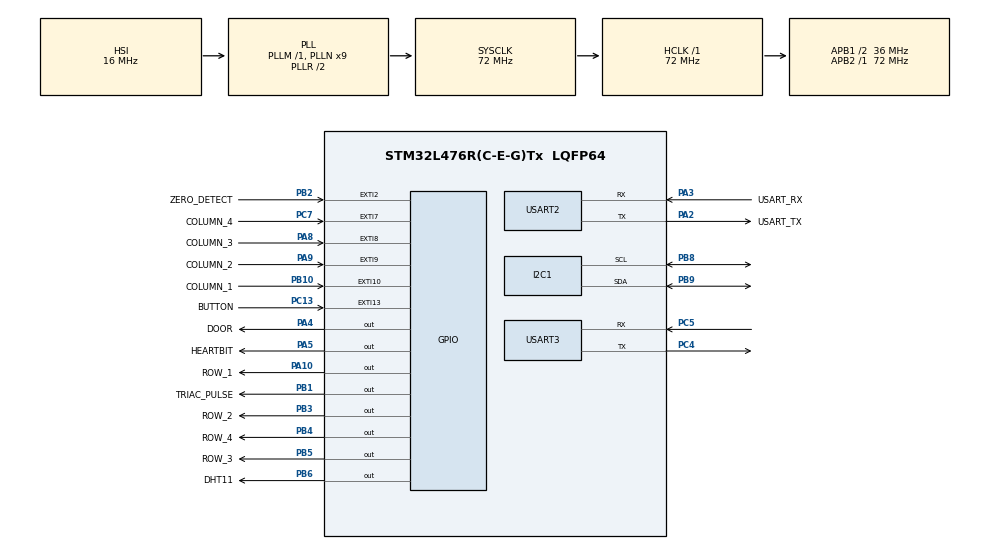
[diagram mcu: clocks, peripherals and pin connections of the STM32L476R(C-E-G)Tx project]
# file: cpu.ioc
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I2C1.Timing=0x00C08CCB
Mcu.Family=STM32L4
Mcu.Name=STM32L476R(C-E-G)Tx
Mcu.Package=LQFP64
NVIC.EXTI15_10_IRQn=true\:0\:0\:false\:false\:true\:true\:true\:true
NVIC.EXTI2_IRQn=true\:0\:0\:false\:false\:true\:true\:true\:true
NVIC.EXTI9_5_IRQn=true\:0\:0\:false\:false\:true\:true\:true\:true
NVIC.I2C1_EV_IRQn=true\:0\:0\:false\:false\:true\:true\:true\:true
NVIC.PriorityGroup=NVIC_PRIORITYGROUP_4
NVIC.RCC_IRQn=true\:0\:0\:false\:false\:true\:true\:false\:true
NVIC.TIM2_IRQn=true\:0\:0\:false\:false\:true\:true\:true\:true
NVIC.USART2_IRQn=true\:0\:0\:false\:false\:true\:true\:true\:true
NVIC.USART3_IRQn=true\:0\:0\:false\:false\:true\:true\:true\:true
PA10.GPIO_Label=ROW_1
PA10.GPIO_ModeDefaultOutputPP=GPIO_MODE_OUTPUT_OD
PA10.GPIO_PuPd=GPIO_NOPULL
PA10.GPIO_Speed=GPIO_SPEED_FREQ_VERY_HIGH
PA10.PinState=GPIO_PIN_RESET
PA10.Signal=GPIO_Output
PA13\ (JTMS-SWDIO).GPIO_Label=TMS
PA13\ (JTMS-SWDIO).Mode=Serial_Wire
PA13\ (JTMS-SWDIO).Signal=SYS_JTMS-SWDIO
PA14\ (JTCK-SWCLK).GPIO_Label=TCK
PA14\ (JTCK-SWCLK).Mode=Serial_Wire
PA14\ (JTCK-SWCLK).Signal=SYS_JTCK-SWCLK
PA2.GPIO_Label=USART_TX
PA2.GPIO_Mode=GPIO_MODE_AF_PP
PA2.GPIO_PuPd=GPIO_NOPULL
PA2.GPIO_Speed=GPIO_SPEED_FREQ_VERY_HIGH
PA2.Mode=Asynchronous
PA2.Signal=USART2_TX
PA3.GPIO_Label=USART_RX
PA3.GPIO_Mode=GPIO_MODE_AF_PP
PA3.GPIO_PuPd=GPIO_NOPULL
PA3.GPIO_Speed=GPIO_SPEED_FREQ_VERY_HIGH
PA3.Mode=Asynchronous
PA3.Signal=USART2_RX
PA4.GPIO_Label=DOOR
PA4.Signal=GPIO_Output
PA5.GPIO_Label=HEARTBIT
PA5.GPIO_ModeDefaultOutputPP=GPIO_MODE_OUTPUT_PP
PA5.GPIO_PuPd=GPIO_NOPULL
PA5.GPIO_Speed=GPIO_SPEED_FREQ_LOW
PA5.Signal=GPIO_Output
PA8.GPIO_Label=COLUMN_3
PA8.GPIO_ModeDefaultEXTI=GPIO_MODE_IT_FALLING
PA8.GPIO_PuPd=GPIO_PULLUP
PA8.Signal=GPXTI8
PA9.GPIO_Label=COLUMN_2
PA9.GPIO_ModeDefaultEXTI=GPIO_MODE_IT_FALLING
PA9.GPIO_PuPd=GPIO_PULLUP
PA9.Signal=GPXTI9
PB1.GPIO_Label=TRIAC_PULSE
PB1.GPIO_Speed=GPIO_SPEED_FREQ_MEDIUM
PB1.Signal=GPIO_Output
PB10.GPIO_Label=COLUMN_1
PB10.GPIO_ModeDefaultEXTI=GPIO_MODE_IT_FALLING
PB10.GPIO_PuPd=GPIO_PULLUP
PB10.Signal=GPXTI10
PB2.GPIO_Label=ZERO_DETECT
PB2.GPIO_PuPd=GPIO_PULLUP
PB2.Signal=GPXTI2
PB3\ (JTDO-TRACESWO).GPIO_Label=ROW_2
PB3\ (JTDO-TRACESWO).GPIO_ModeDefaultOutputPP=GPIO_MODE_OUTPUT_OD
PB3\ (JTDO-TRACESWO).GPIO_PuPd=GPIO_NOPULL
PB3\ (JTDO-TRACESWO).GPIO_Speed=GPIO_SPEED_FREQ_VERY_HIGH
PB3\ (JTDO-TRACESWO).PinState=GPIO_PIN_RESET
PB3\ (JTDO-TRACESWO).Signal=GPIO_Output
PB4\ (NJTRST).GPIO_Label=ROW_4
PB4\ (NJTRST).GPIO_ModeDefaultOutputPP=GPIO_MODE_OUTPUT_OD
PB4\ (NJTRST).GPIO_PuPd=GPIO_NOPULL
PB4\ (NJTRST).GPIO_Speed=GPIO_SPEED_FREQ_VERY_HIGH
PB4\ (NJTRST).PinState=GPIO_PIN_RESET
PB4\ (NJTRST).Signal=GPIO_Output
PB5.GPIO_Label=ROW_3
PB5.GPIO_ModeDefaultOutputPP=GPIO_MODE_OUTPUT_OD
PB5.GPIO_PuPd=GPIO_NOPULL
PB5.GPIO_Speed=GPIO_SPEED_FREQ_VERY_HIGH
PB5.PinState=GPIO_PIN_RESET
PB5.Signal=GPIO_Output
PB6.GPIO_Label=DHT11
PB6.Signal=GPIO_Output
PB8.Mode=I2C
PB8.Signal=I2C1_SCL
PB9.Mode=I2C
PB9.Signal=I2C1_SDA
PC13.GPIO_Label=BUTTON
PC13.GPIO_ModeDefaultEXTI=GPIO_MODE_IT_FALLING
PC13.GPIO_PuPd=GPIO_NOPULL
PC13.Signal=GPXTI13
PC14-OSC32_IN\ (PC14).Mode=LSE-External-Oscillator
PC14-OSC32_IN\ (PC14).Signal=RCC_OSC32_IN
PC15-OSC32_OUT\ (PC15).Mode=LSE-External-Oscillator
PC15-OSC32_OUT\ (PC15).Signal=RCC_OSC32_OUT
PC4.Mode=Asynchronous
PC4.Signal=USART3_TX
PC5.Mode=Asynchronous
PC5.Signal=USART3_RX
PC7.GPIO_Label=COLUMN_4
PC7.GPIO_ModeDefaultEXTI=GPIO_MODE_IT_FALLING
PC7.GPIO_PuPd=GPIO_PULLUP
PC7.Signal=GPXTI7
PH0-OSC_IN\ (PH0).Mode=HSE-External-Oscillator
PH0-OSC_IN\ (PH0).Signal=RCC_OSC_IN
PH1-OSC_OUT\ (PH1).Mode=HSE-External-Oscillator
PH1-OSC_OUT\ (PH1).Signal=RCC_OSC_OUT
ProjectManager.HeapSize=0x200
ProjectManager.StackSize=0x400
ProjectManager.TargetToolchain=CMake
RCC.ADCFreq_Value=64000000
RCC.AHBFreq_Value=72000000
RCC.APB1CLKDivider=RCC_HCLK_DIV2
RCC.APB1Freq_Value=36000000
RCC.APB1TimFreq_Value=72000000
RCC.APB2Freq_Value=72000000
RCC.APB2TimFreq_Value=72000000
RCC.CortexFreq_Value=72000000
RCC.HCLKFreq_Value=72000000
RCC.HSE_VALUE=8000000
RCC.HSI_VALUE=16000000
RCC.MSI_VALUE=4000000
RCC.PLLN=9
RCC.PLLSourceVirtual=RCC_PLLSOURCE_HSI
RCC.PREFETCH_ENABLE=1
RCC.SYSCLKFreq_VALUE=72000000
RCC.SYSCLKSource=RCC_SYSCLKSOURCE_PLLCLK
RCC.USBFreq_Value=64000000
RCC.VCOOutputFreq_Value=144000000
TIM1.Prescaler=71
TIM2.Period=99
TIM2.Prescaler=71
USART2.VirtualMode-Asynchronous=VM_ASYNC
USART3.VirtualMode-Asynchronous=VM_ASYNC
VP_TIM1_VS_ClockSourceINT.Mode=Internal
VP_TIM2_VS_ClockSourceINT.Mode=Internal
board=NUCLEO-L476RG

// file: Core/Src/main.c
/* USER CODE BEGIN Header */
/**
  ******************************************************************************
  * @file           : main.c
  * @brief          : Main program body
  ******************************************************************************
  * @attention
  *
  * Copyright (c) 2025 STMicroelectronics.
  * All rights reserved.
  *
  * This software is licensed under terms that can be found in the LICENSE file
  * in the root directory of this software component.
  * If no LICENSE file comes with this software, it is provided AS-IS.
  *
  ******************************************************************************
  */
/* USER CODE END Header */
#include "main.h"

/* USER CODE BEGIN Includes */
#include "ring_buffer.h"
#include "ssd1306.h"
#include "ssd1306_fonts.h"
#include "keypad.h"
#include "esp_wifi_handler.h"
#include "DHT11.h"
#include "dimmer.h"

/* USER CODE END Includes */

I2C_HandleTypeDef hi2c1;

TIM_HandleTypeDef htim1;
TIM_HandleTypeDef htim2;

UART_HandleTypeDef huart2;
UART_HandleTypeDef huart3;

void SystemClock_Config(void);
static void MX_GPIO_Init(void);
static void MX_TIM1_Init(void);
static void MX_TIM2_Init(void);
static void MX_USART2_UART_Init(void);
static void MX_USART3_UART_Init(void);
static void MX_I2C1_Init(void);

/* USER CODE BEGIN 0 */

uint8_t rx_data2;
uint8_t rx_data3;
void HAL_UART_RxCpltCallback(UART_HandleTypeDef *huart) {
  if (huart->Instance == USART2) {
    //HAL_UART_Transmit(&huart2, (uint8_t *)"UART2:", 6, 1000);
    //HAL_UART_Transmit(&huart2, (uint8_t *)&rx_data2, 1, 1000);
    //HAL_UART_Transmit(&huart2, (uint8_t *)"\n\r", 4, 1000);
    //HAL_UART_Receive_IT(&huart2, (uint8_t *)&rx_data2, 1);
  }
  if (huart->Instance == USART3) {
    HAL_UART_Transmit(&huart3, (uint8_t *)&rx_data3, 1, 1000);
    HAL_UART_Transmit(&huart2, (uint8_t *)&rx_data3, 1, 1000);
    HAL_UART_Receive_IT(&huart3, (uint8_t *)&rx_data3, 1);
  }

}

/* USER CODE END 0 */

int main(void)
{

  /* MCU Configuration--------------------------------------------------------*/

  /* Reset of all peripherals, Initializes the Flash interface and the Systick. */
  HAL_Init();

  /* Configure the system clock */
  SystemClock_Config();

  /* Initialize all configured peripherals */
  MX_GPIO_Init();
  MX_TIM1_Init();
  MX_TIM2_Init();
  MX_USART2_UART_Init();
  MX_USART3_UART_Init();
  MX_I2C1_Init();
  /* USER CODE BEGIN 2 */
  HAL_TIM_Base_Start_IT(&htim1);
  HAL_UART_Receive_IT(&huart2, (uint8_t *)&rx_data2, 1);
  HAL_UART_Receive_IT(&huart3, (uint8_t *)&rx_data3, 1);

  char *msg_uart2 = "---Hello USART2---\r\n";
  HAL_UART_Transmit(&huart2, (uint8_t *)msg_uart2, strlen(msg_uart2), 1000);
  char *msg_uart3 = "---Hello USART3---\r\n";
  HAL_UART_Transmit(&huart3, (uint8_t *)msg_uart3, strlen(msg_uart3), 1000);
  /* USER CODE END 2 */

  /* Infinite loop */
  /* USER CODE BEGIN WHILE */

  static uint32_t dht_tick = 0;
  while (1)
  {

    if (HAL_GetTick() >= 10000)
    {
        if (HAL_GetTick() - dht_tick >= 5000)
        {
            dht_tick = HAL_GetTick();
            DHT11_send_data(&huart3);
        }
    }

    /* USER CODE END WHILE */

  }
}

void SystemClock_Config(void)
{
  RCC_OscInitTypeDef RCC_OscInitStruct = {0};
  RCC_ClkInitTypeDef RCC_ClkInitStruct = {0};

  /** Configure the main internal regulator output voltage
  */
  if (HAL_PWREx_ControlVoltageScaling(PWR_REGULATOR_VOLTAGE_SCALE1) != HAL_OK)
  {
    Error_Handler();
  }

  /** Initializes the RCC Oscillators according to the specified parameters
  * in the RCC_OscInitTypeDef structure.
  */
  RCC_OscInitStruct.OscillatorType = RCC_OSCILLATORTYPE_HSI;
  RCC_OscInitStruct.HSIState = RCC_HSI_ON;
  RCC_OscInitStruct.HSICalibrationValue = RCC_HSICALIBRATION_DEFAULT;
  RCC_OscInitStruct.PLL.PLLState = RCC_PLL_ON;
  RCC_OscInitStruct.PLL.PLLSource = RCC_PLLSOURCE_HSI;
  RCC_OscInitStruct.PLL.PLLM = 1;
  RCC_OscInitStruct.PLL.PLLN = 9;
  RCC_OscInitStruct.PLL.PLLP = RCC_PLLP_DIV7;
  RCC_OscInitStruct.PLL.PLLQ = RCC_PLLQ_DIV2;
  RCC_OscInitStruct.PLL.PLLR = RCC_PLLR_DIV2;
  if (HAL_RCC_OscConfig(&RCC_OscInitStruct) != HAL_OK)
  {
    Error_Handler();
  }

  /** Initializes the CPU, AHB and APB buses clocks
  */
  RCC_ClkInitStruct.ClockType = RCC_CLOCKTYPE_HCLK|RCC_CLOCKTYPE_SYSCLK
                              |RCC_CLOCKTYPE_PCLK1|RCC_CLOCKTYPE_PCLK2;
  RCC_ClkInitStruct.SYSCLKSource = RCC_SYSCLKSOURCE_PLLCLK;
  RCC_ClkInitStruct.AHBCLKDivider = RCC_SYSCLK_DIV1;
  RCC_ClkInitStruct.APB1CLKDivider = RCC_HCLK_DIV2;
  RCC_ClkInitStruct.APB2CLKDivider = RCC_HCLK_DIV1;

  if (HAL_RCC_ClockConfig(&RCC_ClkInitStruct, FLASH_LATENCY_4) != HAL_OK)
  {
    Error_Handler();
  }
}

static void MX_I2C1_Init(void)
{

  hi2c1.Instance = I2C1;
  hi2c1.Init.Timing = 0x00C08CCB;
  hi2c1.Init.OwnAddress1 = 0;
  hi2c1.Init.AddressingMode = I2C_ADDRESSINGMODE_7BIT;
  hi2c1.Init.DualAddressMode = I2C_DUALADDRESS_DISABLE;
  hi2c1.Init.OwnAddress2 = 0;
  hi2c1.Init.OwnAddress2Masks = I2C_OA2_NOMASK;
  hi2c1.Init.GeneralCallMode = I2C_GENERALCALL_DISABLE;
  hi2c1.Init.NoStretchMode = I2C_NOSTRETCH_DISABLE;
  if (HAL_I2C_Init(&hi2c1) != HAL_OK)
  {
    Error_Handler();
  }

  /** Configure Analogue filter
  */
  if (HAL_I2CEx_ConfigAnalogFilter(&hi2c1, I2C_ANALOGFILTER_ENABLE) != HAL_OK)
  {
    Error_Handler();
  }

  /** Configure Digital filter
  */
  if (HAL_I2CEx_ConfigDigitalFilter(&hi2c1, 0) != HAL_OK)
  {
    Error_Handler();
  }

}

static void MX_TIM1_Init(void)
{

  TIM_ClockConfigTypeDef sClockSourceConfig = {0};
  TIM_MasterConfigTypeDef sMasterConfig = {0};

  htim1.Instance = TIM1;
  htim1.Init.Prescaler = 71;
  htim1.Init.CounterMode = TIM_COUNTERMODE_UP;
  htim1.Init.Period = 65535;
  htim1.Init.ClockDivision = TIM_CLOCKDIVISION_DIV1;
  htim1.Init.RepetitionCounter = 0;
  htim1.Init.AutoReloadPreload = TIM_AUTORELOAD_PRELOAD_DISABLE;
  if (HAL_TIM_Base_Init(&htim1) != HAL_OK)
  {
    Error_Handler();
  }
  sClockSourceConfig.ClockSource = TIM_CLOCKSOURCE_INTERNAL;
  if (HAL_TIM_ConfigClockSource(&htim1, &sClockSourceConfig) != HAL_OK)
  {
    Error_Handler();
  }
  sMasterConfig.MasterOutputTrigger = TIM_TRGO_RESET;
  sMasterConfig.MasterOutputTrigger2 = TIM_TRGO2_RESET;
  sMasterConfig.MasterSlaveMode = TIM_MASTERSLAVEMODE_DISABLE;
  if (HAL_TIMEx_MasterConfigSynchronization(&htim1, &sMasterConfig) != HAL_OK)
  {
    Error_Handler();
  }

}

static void MX_TIM2_Init(void)
{

  TIM_ClockConfigTypeDef sClockSourceConfig = {0};
  TIM_MasterConfigTypeDef sMasterConfig = {0};

  htim2.Instance = TIM2;
  htim2.Init.Prescaler = 71;
  htim2.Init.CounterMode = TIM_COUNTERMODE_UP;
  htim2.Init.Period = 99;
  htim2.Init.ClockDivision = TIM_CLOCKDIVISION_DIV1;
  htim2.Init.AutoReloadPreload = TIM_AUTORELOAD_PRELOAD_DISABLE;
  if (HAL_TIM_Base_Init(&htim2) != HAL_OK)
  {
    Error_Handler();
  }
  sClockSourceConfig.ClockSource = TIM_CLOCKSOURCE_INTERNAL;
  if (HAL_TIM_ConfigClockSource(&htim2, &sClockSourceConfig) != HAL_OK)
  {
    Error_Handler();
  }
  sMasterConfig.MasterOutputTrigger = TIM_TRGO_RESET;
  sMasterConfig.MasterSlaveMode = TIM_MASTERSLAVEMODE_DISABLE;
  if (HAL_TIMEx_MasterConfigSynchronization(&htim2, &sMasterConfig) != HAL_OK)
  {
    Error_Handler();
  }

}

static void MX_USART2_UART_Init(void)
{

  huart2.Instance = USART2;
  huart2.Init.BaudRate = 115200;
  huart2.Init.WordLength = UART_WORDLENGTH_8B;
  huart2.Init.StopBits = UART_STOPBITS_1;
  huart2.Init.Parity = UART_PARITY_NONE;
  huart2.Init.Mode = UART_MODE_TX_RX;
  huart2.Init.HwFlowCtl = UART_HWCONTROL_NONE;
  huart2.Init.OverSampling = UART_OVERSAMPLING_16;
  huart2.Init.OneBitSampling = UART_ONE_BIT_SAMPLE_DISABLE;
  huart2.AdvancedInit.AdvFeatureInit = UART_ADVFEATURE_NO_INIT;
  if (HAL_UART_Init(&huart2) != HAL_OK)
  {
    Error_Handler();
  }

}

static void MX_USART3_UART_Init(void)
{

  huart3.Instance = USART3;
  huart3.Init.BaudRate = 115200;
  huart3.Init.WordLength = UART_WORDLENGTH_8B;
  huart3.Init.StopBits = UART_STOPBITS_1;
  huart3.Init.Parity = UART_PARITY_NONE;
  huart3.Init.Mode = UART_MODE_TX_RX;
  huart3.Init.HwFlowCtl = UART_HWCONTROL_NONE;
  huart3.Init.OverSampling = UART_OVERSAMPLING_16;
  huart3.Init.OneBitSampling = UART_ONE_BIT_SAMPLE_DISABLE;
  huart3.AdvancedInit.AdvFeatureInit = UART_ADVFEATURE_NO_INIT;
  if (HAL_UART_Init(&huart3) != HAL_OK)
  {
    Error_Handler();
  }

}

static void MX_GPIO_Init(void)
{
  GPIO_InitTypeDef GPIO_InitStruct = {0};

  /* GPIO Ports Clock Enable */
  __HAL_RCC_GPIOC_CLK_ENABLE();
  __HAL_RCC_GPIOH_CLK_ENABLE();
  __HAL_RCC_GPIOA_CLK_ENABLE();
  __HAL_RCC_GPIOB_CLK_ENABLE();

  /*Configure GPIO pin Output Level */
  HAL_GPIO_WritePin(GPIOA, DOOR_Pin|HEARTBIT_Pin|ROW_1_Pin, GPIO_PIN_RESET);

  /*Configure GPIO pin Output Level */
  HAL_GPIO_WritePin(GPIOB, TRIAC_PULSE_Pin|ROW_2_Pin|ROW_4_Pin|ROW_3_Pin
                          |DHT11_Pin, GPIO_PIN_RESET);

  /*Configure GPIO pin : BUTTON_Pin */
  GPIO_InitStruct.Pin = BUTTON_Pin;
  GPIO_InitStruct.Mode = GPIO_MODE_IT_FALLING;
  GPIO_InitStruct.Pull = GPIO_NOPULL;
  HAL_GPIO_Init(BUTTON_GPIO_Port, &GPIO_InitStruct);

  /*Configure GPIO pins : DOOR_Pin HEARTBIT_Pin */
  GPIO_InitStruct.Pin = DOOR_Pin|HEARTBIT_Pin;
  GPIO_InitStruct.Mode = GPIO_MODE_OUTPUT_PP;
  GPIO_InitStruct.Pull = GPIO_NOPULL;
  GPIO_InitStruct.Speed = GPIO_SPEED_FREQ_LOW;
  HAL_GPIO_Init(GPIOA, &GPIO_InitStruct);

  /*Configure GPIO pin : TRIAC_PULSE_Pin */
  GPIO_InitStruct.Pin = TRIAC_PULSE_Pin;
  GPIO_InitStruct.Mode = GPIO_MODE_OUTPUT_PP;
  GPIO_InitStruct.Pull = GPIO_NOPULL;
  GPIO_InitStruct.Speed = GPIO_SPEED_FREQ_MEDIUM;
  HAL_GPIO_Init(TRIAC_PULSE_GPIO_Port, &GPIO_InitStruct);

  /*Configure GPIO pin : ZERO_DETECT_Pin */
  GPIO_InitStruct.Pin = ZERO_DETECT_Pin;
  GPIO_InitStruct.Mode = GPIO_MODE_IT_RISING;
  GPIO_InitStruct.Pull = GPIO_PULLUP;
  HAL_GPIO_Init(ZERO_DETECT_GPIO_Port, &GPIO_InitStruct);

  /*Configure GPIO pin : COLUMN_1_Pin */
  GPIO_InitStruct.Pin = COLUMN_1_Pin;
  GPIO_InitStruct.Mode = GPIO_MODE_IT_FALLING;
  GPIO_InitStruct.Pull = GPIO_PULLUP;
  HAL_GPIO_Init(COLUMN_1_GPIO_Port, &GPIO_InitStruct);

  /*Configure GPIO pin : COLUMN_4_Pin */
  GPIO_InitStruct.Pin = COLUMN_4_Pin;
  GPIO_InitStruct.Mode = GPIO_MODE_IT_FALLING;
  GPIO_InitStruct.Pull = GPIO_PULLUP;
  HAL_GPIO_Init(COLUMN_4_GPIO_Port, &GPIO_InitStruct);

  /*Configure GPIO pins : COLUMN_3_Pin COLUMN_2_Pin */
  GPIO_InitStruct.Pin = COLUMN_3_Pin|COLUMN_2_Pin;
  GPIO_InitStruct.Mode = GPIO_MODE_IT_FALLING;
  GPIO_InitStruct.Pull = GPIO_PULLUP;
  HAL_GPIO_Init(GPIOA, &GPIO_InitStruct);

  /*Configure GPIO pin : ROW_1_Pin */
  GPIO_InitStruct.Pin = ROW_1_Pin;
  GPIO_InitStruct.Mode = GPIO_MODE_OUTPUT_OD;
  GPIO_InitStruct.Pull = GPIO_NOPULL;
  GPIO_InitStruct.Speed = GPIO_SPEED_FREQ_VERY_HIGH;
  HAL_GPIO_Init(ROW_1_GPIO_Port, &GPIO_InitStruct);

  /*Configure GPIO pins : ROW_2_Pin ROW_4_Pin ROW_3_Pin */
  GPIO_InitStruct.Pin = ROW_2_Pin|ROW_4_Pin|ROW_3_Pin;
  GPIO_InitStruct.Mode = GPIO_MODE_OUTPUT_OD;
  GPIO_InitStruct.Pull = GPIO_NOPULL;
  GPIO_InitStruct.Speed = GPIO_SPEED_FREQ_VERY_HIGH;
  HAL_GPIO_Init(GPIOB, &GPIO_InitStruct);

  /*Configure GPIO pin : DHT11_Pin */
  GPIO_InitStruct.Pin = DHT11_Pin;
  GPIO_InitStruct.Mode = GPIO_MODE_OUTPUT_PP;
  GPIO_InitStruct.Pull = GPIO_NOPULL;
  GPIO_InitStruct.Speed = GPIO_SPEED_FREQ_LOW;
  HAL_GPIO_Init(DHT11_GPIO_Port, &GPIO_InitStruct);

  /* EXTI interrupt init*/
  HAL_NVIC_SetPriority(EXTI2_IRQn, 0, 0);
  HAL_NVIC_EnableIRQ(EXTI2_IRQn);

  HAL_NVIC_SetPriority(EXTI9_5_IRQn, 0, 0);
  HAL_NVIC_EnableIRQ(EXTI9_5_IRQn);

  HAL_NVIC_SetPriority(EXTI15_10_IRQn, 0, 0);
  HAL_NVIC_EnableIRQ(EXTI15_10_IRQn);

}

void Error_Handler(void)
{
  __disable_irq();
  while (1)
  {
  }
}
